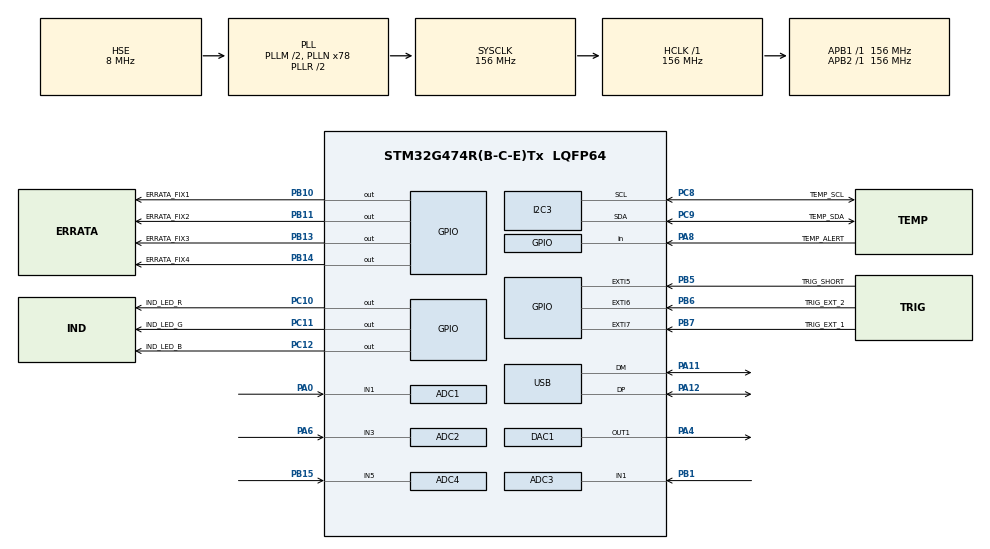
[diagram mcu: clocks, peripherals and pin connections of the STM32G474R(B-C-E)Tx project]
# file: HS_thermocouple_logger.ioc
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ADC1.Channel-9\#ChannelRegularConversion=ADC_CHANNEL_1
ADC1.ClockPrescaler=ADC_CLOCK_ASYNC_DIV1
ADC1.DMAContinuousRequests=ENABLE
ADC1.ExternalTrigConv=ADC_EXTERNALTRIG_T2_TRGO
ADC1.NbrOfConversionFlag=1
ADC1.OffsetNumber-9\#ChannelRegularConversion=ADC_OFFSET_NONE
ADC1.OversamplingMode=ENABLE
ADC1.Rank-9\#ChannelRegularConversion=1
ADC1.Ratio=ADC_OVERSAMPLING_RATIO_32
ADC1.RightBitShift=ADC_RIGHTBITSHIFT_1
ADC1.SamplingTime-9\#ChannelRegularConversion=ADC_SAMPLETIME_2CYCLES_5
ADC1.master=1
ADC2.Channel-0\#ChannelRegularConversion=ADC_CHANNEL_3
ADC2.ClockPrescaler=ADC_CLOCK_ASYNC_DIV1
ADC2.DMAContinuousRequests=ENABLE
ADC2.ExternalTrigConv=ADC_EXTERNALTRIG_T2_TRGO
ADC2.NbrOfConversionFlag=1
ADC2.OffsetNumber-0\#ChannelRegularConversion=ADC_OFFSET_NONE
ADC2.OversamplingMode=ENABLE
ADC2.Rank-0\#ChannelRegularConversion=1
ADC2.Ratio=ADC_OVERSAMPLING_RATIO_32
ADC2.RightBitShift=ADC_RIGHTBITSHIFT_1
ADC2.SamplingTime-0\#ChannelRegularConversion=ADC_SAMPLETIME_2CYCLES_5
ADC3.Channel-0\#ChannelRegularConversion=ADC_CHANNEL_1
ADC3.ClockPrescaler=ADC_CLOCK_ASYNC_DIV1
ADC3.DMAContinuousRequests=ENABLE
ADC3.ExternalTrigConv=ADC_EXTERNALTRIG_T2_TRGO
ADC3.NbrOfConversionFlag=1
ADC3.OffsetNumber-0\#ChannelRegularConversion=ADC_OFFSET_NONE
ADC3.OversamplingMode=ENABLE
ADC3.Rank-0\#ChannelRegularConversion=1
ADC3.Ratio=ADC_OVERSAMPLING_RATIO_32
ADC3.RightBitShift=ADC_RIGHTBITSHIFT_1
ADC3.SamplingTime-0\#ChannelRegularConversion=ADC_SAMPLETIME_2CYCLES_5
ADC3.master=1
ADC4.Channel-2\#ChannelRegularConversion=ADC_CHANNEL_5
ADC4.ClockPrescaler=ADC_CLOCK_ASYNC_DIV1
ADC4.DMAContinuousRequests=ENABLE
ADC4.ExternalTrigConv=ADC_EXTERNALTRIG_T2_TRGO
ADC4.NbrOfConversionFlag=1
ADC4.OffsetNumber-2\#ChannelRegularConversion=ADC_OFFSET_NONE
ADC4.OversamplingMode=ENABLE
ADC4.Rank-2\#ChannelRegularConversion=1
ADC4.Ratio=ADC_OVERSAMPLING_RATIO_32
ADC4.RightBitShift=ADC_RIGHTBITSHIFT_1
ADC4.SamplingTime-2\#ChannelRegularConversion=ADC_SAMPLETIME_2CYCLES_5
DAC1.DAC_UserTrimming-DAC_OUT1=DAC_TRIMMING_USER
Dma.ADC1.0.Direction=DMA_PERIPH_TO_MEMORY
Dma.ADC1.0.EventEnable=DISABLE
Dma.ADC1.0.Instance=DMA1_Channel1
Dma.ADC1.0.MemDataAlignment=DMA_MDATAALIGN_HALFWORD
Dma.ADC1.0.MemInc=DMA_MINC_ENABLE
Dma.ADC1.0.Mode=DMA_CIRCULAR
Dma.ADC1.0.PeriphDataAlignment=DMA_PDATAALIGN_HALFWORD
Dma.ADC1.0.PeriphInc=DMA_PINC_DISABLE
Dma.ADC1.0.Polarity=HAL_DMAMUX_REQ_GEN_RISING
Dma.ADC1.0.Priority=DMA_PRIORITY_HIGH
Dma.ADC1.0.RequestNumber=1
Dma.ADC1.0.SignalID=NONE
Dma.ADC1.0.SyncEnable=DISABLE
Dma.ADC1.0.SyncPolarity=HAL_DMAMUX_SYNC_NO_EVENT
Dma.ADC1.0.SyncRequestNumber=1
Dma.ADC1.0.SyncSignalID=NONE
Dma.ADC2.3.Direction=DMA_PERIPH_TO_MEMORY
Dma.ADC2.3.EventEnable=DISABLE
Dma.ADC2.3.Instance=DMA1_Channel2
Dma.ADC2.3.MemDataAlignment=DMA_MDATAALIGN_HALFWORD
Dma.ADC2.3.MemInc=DMA_MINC_ENABLE
Dma.ADC2.3.Mode=DMA_CIRCULAR
Dma.ADC2.3.PeriphDataAlignment=DMA_PDATAALIGN_HALFWORD
Dma.ADC2.3.PeriphInc=DMA_PINC_DISABLE
Dma.ADC2.3.Polarity=HAL_DMAMUX_REQ_GEN_RISING
Dma.ADC2.3.Priority=DMA_PRIORITY_LOW
Dma.ADC2.3.RequestNumber=1
Dma.ADC2.3.SignalID=NONE
Dma.ADC2.3.SyncEnable=DISABLE
Dma.ADC2.3.SyncPolarity=HAL_DMAMUX_SYNC_NO_EVENT
Dma.ADC2.3.SyncRequestNumber=1
Dma.ADC2.3.SyncSignalID=NONE
Dma.ADC3.1.Direction=DMA_PERIPH_TO_MEMORY
Dma.ADC3.1.EventEnable=DISABLE
Dma.ADC3.1.Instance=DMA1_Channel3
Dma.ADC3.1.MemDataAlignment=DMA_MDATAALIGN_HALFWORD
Dma.ADC3.1.MemInc=DMA_MINC_ENABLE
Dma.ADC3.1.Mode=DMA_CIRCULAR
Dma.ADC3.1.PeriphDataAlignment=DMA_PDATAALIGN_HALFWORD
Dma.ADC3.1.PeriphInc=DMA_PINC_DISABLE
Dma.ADC3.1.Polarity=HAL_DMAMUX_REQ_GEN_RISING
Dma.ADC3.1.Priority=DMA_PRIORITY_HIGH
Dma.ADC3.1.RequestNumber=1
Dma.ADC3.1.SignalID=NONE
Dma.ADC3.1.SyncEnable=DISABLE
Dma.ADC3.1.SyncPolarity=HAL_DMAMUX_SYNC_NO_EVENT
Dma.ADC3.1.SyncRequestNumber=1
Dma.ADC3.1.SyncSignalID=NONE
Dma.ADC4.2.Direction=DMA_PERIPH_TO_MEMORY
Dma.ADC4.2.EventEnable=DISABLE
Dma.ADC4.2.Instance=DMA1_Channel4
Dma.ADC4.2.MemDataAlignment=DMA_MDATAALIGN_HALFWORD
Dma.ADC4.2.MemInc=DMA_MINC_ENABLE
Dma.ADC4.2.Mode=DMA_CIRCULAR
Dma.ADC4.2.PeriphDataAlignment=DMA_PDATAALIGN_HALFWORD
Dma.ADC4.2.PeriphInc=DMA_PINC_DISABLE
Dma.ADC4.2.Polarity=HAL_DMAMUX_REQ_GEN_RISING
Dma.ADC4.2.Priority=DMA_PRIORITY_HIGH
Dma.ADC4.2.RequestNumber=1
Dma.ADC4.2.SignalID=NONE
Dma.ADC4.2.SyncEnable=DISABLE
Dma.ADC4.2.SyncPolarity=HAL_DMAMUX_SYNC_NO_EVENT
Dma.ADC4.2.SyncRequestNumber=1
Dma.ADC4.2.SyncSignalID=NONE
Dma.Request0=ADC1
Dma.Request1=ADC3
Dma.Request2=ADC4
Dma.Request3=ADC2
I2C3.OwnAddress=72
I2C3.Timing=0x40707EB4
Mcu.Family=STM32G4
Mcu.Name=STM32G474R(B-C-E)Tx
Mcu.Package=LQFP64
NVIC.DMA1_Channel1_IRQn=true\:0\:0\:false\:false\:true\:false\:true\:true
NVIC.DMA1_Channel2_IRQn=true\:0\:0\:false\:false\:true\:false\:true\:true
NVIC.DMA1_Channel3_IRQn=true\:0\:0\:false\:false\:true\:false\:true\:true
NVIC.DMA1_Channel4_IRQn=true\:0\:0\:false\:false\:true\:false\:true\:true
NVIC.EXTI9_5_IRQn=true\:0\:0\:false\:false\:true\:true\:true\:true
NVIC.PriorityGroup=NVIC_PRIORITYGROUP_4
NVIC.USB_HP_IRQn=true\:0\:0\:false\:false\:true\:true\:true\:true
NVIC.USB_LP_IRQn=true\:0\:0\:false\:false\:true\:false\:true\:true
PA0.Mode=IN1-Single-Ended
PA0.Signal=ADC1_IN1
PA11.Mode=Device
PA11.Signal=USB_DM
PA12.Mode=Device
PA12.Signal=USB_DP
PA13.GPIO_Label=T_SWDIO
PA13.Mode=JTAG_4_pins
PA13.Signal=SYS_JTMS-SWDIO
PA14.GPIO_Label=T_SWCLK
PA14.Mode=JTAG_4_pins
PA14.Signal=SYS_JTCK-SWCLK
PA15.Mode=JTAG_4_pins
PA15.Signal=SYS_JTDI
PA4.Signal=COMP_DAC11_group
PA6.Mode=IN3-Single-Ended
PA6.Signal=ADC2_IN3
PA8.GPIO_Label=TEMP_ALERT
PA8.Signal=GPIO_Input
PB1.Mode=IN1-Single-Ended
PB1.Signal=ADC3_IN1
PB10.GPIO_Label=ERRATA_FIX1
PB10.GPIO_ModeDefaultOutputPP=GPIO_MODE_OUTPUT_PP
PB10.GPIO_PuPd=GPIO_NOPULL
PB10.GPIO_Speed=GPIO_SPEED_FREQ_LOW
PB10.PinState=GPIO_PIN_RESET
PB10.Signal=GPIO_Output
PB11.GPIO_Label=ERRATA_FIX2
PB11.GPIO_ModeDefaultOutputPP=GPIO_MODE_OUTPUT_PP
PB11.GPIO_PuPd=GPIO_NOPULL
PB11.GPIO_Speed=GPIO_SPEED_FREQ_LOW
PB11.PinState=GPIO_PIN_RESET
PB11.Signal=GPIO_Output
PB13.GPIO_Label=ERRATA_FIX3
PB13.GPIO_ModeDefaultOutputPP=GPIO_MODE_OUTPUT_PP
PB13.GPIO_PuPd=GPIO_NOPULL
PB13.GPIO_Speed=GPIO_SPEED_FREQ_LOW
PB13.PinState=GPIO_PIN_RESET
PB13.Signal=GPIO_Output
PB14.GPIO_Label=ERRATA_FIX4
PB14.GPIO_ModeDefaultOutputPP=GPIO_MODE_OUTPUT_PP
PB14.GPIO_PuPd=GPIO_NOPULL
PB14.GPIO_Speed=GPIO_SPEED_FREQ_LOW
PB14.PinState=GPIO_PIN_RESET
PB14.Signal=GPIO_Output
PB15.Mode=IN5-Single-Ended
PB15.Signal=ADC4_IN5
PB3.GPIO_Label=T_SWO
PB3.Mode=JTAG_4_pins
PB3.Signal=SYS_JTDO-SWO
PB5.GPIO_Label=TRIG_SHORT
PB5.GPIO_ModeDefaultEXTI=GPIO_MODE_IT_FALLING
PB5.GPIO_PuPd=GPIO_NOPULL
PB5.Signal=GPXTI5
PB6.GPIO_Label=TRIG_EXT_2
PB6.GPIO_ModeDefaultEXTI=GPIO_MODE_IT_FALLING
PB6.GPIO_PuPd=GPIO_PULLUP
PB6.Signal=GPXTI6
PB7.GPIO_Label=TRIG_EXT_1
PB7.GPIO_ModeDefaultEXTI=GPIO_MODE_IT_RISING
PB7.GPIO_PuPd=GPIO_PULLDOWN
PB7.Signal=GPXTI7
PC10.GPIO_Label=IND_LED_R
PC10.PinState=GPIO_PIN_SET
PC10.Signal=GPIO_Output
PC11.GPIO_Label=IND_LED_G
PC11.PinState=GPIO_PIN_SET
PC11.Signal=GPIO_Output
PC12.GPIO_Label=IND_LED_B
PC12.PinState=GPIO_PIN_SET
PC12.Signal=GPIO_Output
PC8.GPIO_Label=TEMP_SCL
PC8.Mode=I2C
PC8.Signal=I2C3_SCL
PC9.GPIO_Label=TEMP_SDA
PC9.Mode=I2C
PC9.Signal=I2C3_SDA
PF0-OSC_IN.Mode=HSE-External-Oscillator
PF0-OSC_IN.Signal=RCC_OSC_IN
PF1-OSC_OUT.Mode=HSE-External-Oscillator
PF1-OSC_OUT.Signal=RCC_OSC_OUT
ProjectManager.HeapSize=0x1000
ProjectManager.StackSize=0x1000
ProjectManager.TargetToolchain=STM32CubeIDE
RCC.ADC12CLockSelection=RCC_ADC12CLKSOURCE_PLL
RCC.ADC12Freq_Value=52000000
RCC.ADC345CLockSelection=RCC_ADC345CLKSOURCE_PLL
RCC.ADC345Freq_Value=52000000
RCC.AHBFreq_Value=156000000
RCC.APB1Freq_Value=156000000
RCC.APB1TimFreq_Value=156000000
RCC.APB2Freq_Value=156000000
RCC.APB2TimFreq_Value=156000000
RCC.CK48CLockSelection=RCC_USBCLKSOURCE_HSI48
RCC.CortexFreq_Value=156000000
RCC.EXTERNAL_CLOCK_VALUE=12288000
RCC.HCLKFreq_Value=156000000
RCC.HSE_VALUE=8000000
RCC.HSI48_VALUE=48000000
RCC.HSI_VALUE=16000000
RCC.LSE_VALUE=32768
RCC.PLLM=RCC_PLLM_DIV2
RCC.PLLN=78
RCC.PLLP=RCC_PLLP_DIV6
RCC.PLLSourceVirtual=RCC_PLLSOURCE_HSE
RCC.RTCClockSelection=RCC_RTCCLKSOURCE_LSE
RCC.SYSCLKFreq_VALUE=156000000
RCC.SYSCLKSource=RCC_SYSCLKSOURCE_PLLCLK
RCC.USBFreq_Value=48000000
RCC.VCOOutputFreq_Value=312000000
SH.COMP_DAC11_group.0=DAC1_OUT1,DAC_OUT1
SYS.VoltageScaling=SYSCFG_VREFBUF_VOLTAGE_SCALE2
TIM2.AutoReloadPreload=TIM_AUTORELOAD_PRELOAD_DISABLE
TIM2.PeriodNoDither=10 - 1
TIM2.Prescaler=156 - 1
TIM2.TIM_MasterOutputTrigger=TIM_TRGO_UPDATE
USB_DEVICE.CLASS_NAME_FS=CDC
USB_DEVICE.MANUFACTURER_STRING=BTL
USB_DEVICE.PRODUCT_STRING_CDC_FS=BTL TC logger
USB_DEVICE.VirtualMode=Cdc
USB_DEVICE.VirtualModeFS=Cdc_FS
VP_ADC1_Vref_Input.Mode=IN-Vrefint
VP_SYS_VS_DBSignals.Mode=DisableDeadBatterySignals
VP_TIM2_VS_ClockSourceINT.Mode=Internal
VP_USB_DEVICE_VS_USB_DEVICE_CDC_FS.Mode=CDC_FS
VREF+.Mode=InternalMode
VREF+.Signal=VREFBUF_OUT
board=NUCLEO-G474RE

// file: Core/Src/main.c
/* USER CODE BEGIN Header */
/**
  ******************************************************************************
  * @file           : main.c
  * @brief          : Main program body
  ******************************************************************************
  * @attention
  *
  * Copyright (c) 2024 STMicroelectronics.
  * All rights reserved.
  *
  * This software is licensed under terms that can be found in the LICENSE file
  * in the root directory of this software component.
  * If no LICENSE file comes with this software, it is provided AS-IS.
  *
  ******************************************************************************
  */
/* USER CODE END Header */
#include "main.h"
#include "usb_device.h"

/* USER CODE BEGIN Includes */
#include "usbd_cdc_if.h"
#include "stm32g4xx_ll_usb.h"
#include <string.h>
#include <stdio.h>
/* USER CODE END Includes */

/* USER CODE BEGIN PM */
extern USBD_HandleTypeDef hUsbDeviceFS;
/* USER CODE END PM */

ADC_HandleTypeDef hadc1;
ADC_HandleTypeDef hadc2;
ADC_HandleTypeDef hadc3;
ADC_HandleTypeDef hadc4;
DMA_HandleTypeDef hdma_adc1;
DMA_HandleTypeDef hdma_adc2;
DMA_HandleTypeDef hdma_adc3;
DMA_HandleTypeDef hdma_adc4;

DAC_HandleTypeDef hdac1;

I2C_HandleTypeDef hi2c3;

TIM_HandleTypeDef htim2;

/* USER CODE BEGIN PV */
int current_packet_count = 0;
int target_packet_count = 0;
int dropped_packet_count = 0;

uint16_t adc_buffers[MAX_CHANNEL_COUNT][ADC_BUFFER_SIZE];
int8_t rx_buffer[USB_RX_BUFFER_SIZE];

volatile enum PROG_STATE prog_state = IDLE;
volatile float cold_junction_temp = 0;			// [°C]
volatile float analog_reference_voltage = 2.9;	// [V]
volatile float applied_voltage_offset = 0;		// [V]

uint16_t record_length_ms = 100;
uint16_t record_interval_us = 10;
char tc_type = 'J';
enum ADC_BUFFER_STATE usb_transmition_state = EMPTY;
enum ADC_BUFFER_STATE adc_states[MAX_CHANNEL_COUNT] = {EMPTY, EMPTY, EMPTY, EMPTY};
unsigned int channel_enabled_count = 0;
unsigned int channel_enabled_status[MAX_CHANNEL_COUNT] = {0, 0, 0, 0};

volatile int transmission_error = 0;
volatile int conv_count_reached = 0;
volatile int measurement_activated = 0;

// -210 to 760°C
const uint8_t type_j_coefficients_count = 9;
const double type_j_coefficients[9] = {0,
									   5.0381187815 * pow(10, 1),
									   3.0475836930 * pow(10, -2),
									  -8.5681065720 * pow(10, -5),
									   1.3228195295 * pow(10, -7),
									  -1.7052958337 * pow(10, -10),
									   2.0948090697 * pow(10, -13),
									  -1.2538395336 * pow(10, -16),
									   1.5631725697 * pow(10, -20)

};

// -270 to 0°C
const uint8_t type_k_coefficients_count = 11;
const double type_k_coefficients[11] = {0,
										3.9450128025 * pow(10, 1),
										2.3622373598 * pow(10, -2),
									   -3.2858906784 * pow(10, -4),
									   -4.9904828777 * pow(10, -6),
									   -6.7509059173 * pow(10, -8),
									   -5.7410327428 * pow(10, -10),
									   -3.1088872894 * pow(10, -12),
									   -1.0451609365 * pow(10, -14),
									   -1.9889266878 * pow(10, -17),
									   -1.6322697486 * pow(10, -20)

};

// -270 to 0°C
const uint8_t type_t_coefficients_count = 15;
const double type_t_coefficients[15] = {0,
		 	 	 	 	 	 	 	 	3.8748106364 * pow(10, 1),
										4.4194434347 * pow(10, -2),
										1.1844323105 * pow(10, -4),
										2.0032973554 * pow(10, -5),
										9.0138019559 * pow(10, -7),
										2.2651156593 * pow(10, -8),
										3.6071154205 * pow(10, -10),
										3.8493939883 * pow(10, -12),
										2.8213521925 * pow(10, -14),
										1.4251594779 * pow(10, -16),
										4.8768662286 * pow(10, -19),
										1.0795539270 * pow(10, -21),
										1.3945027062 * pow(10, -24),
										7.9795153927 * pow(10, -28)
};

// -270 to 0°C
const uint8_t type_e_coefficients_count = 14;
const double type_e_coefficients[14] = {0,
										5.8665508708 * pow(10, 1),
										4.5410977124 * pow(10, -2),
									   -7.7998048686 * pow(10, -4),
									   -2.5800160843 * pow(10, -5),
									   -5.9452583057 * pow(10, -7),
									   -9.3214058667 * pow(10, -9),
									   -1.0287605534 * pow(10, -10),
									   -8.0370123621 * pow(10, -13),
									   -4.3979497391 * pow(10, -15),
									   -1.6414776355 * pow(10, -17),
									   -3.9673619516 * pow(10, -20),
									   -5.5827328721 * pow(10, -23),
									   -3.4657842013 * pow(10, -26)
};

/* USER CODE END PV */

void SystemClock_Config(void);
static void MX_GPIO_Init(void);
static void MX_DMA_Init(void);
static void MX_ADC1_Init(void);
static void MX_ADC3_Init(void);
static void MX_ADC4_Init(void);
static void MX_TIM2_Init(void);
static void MX_I2C3_Init(void);
static void MX_DAC1_Init(void);
static void MX_ADC2_Init(void);
/* USER CODE BEGIN PFP */
int InterpretConfig(void);
int InterpretVariable(char name[CFG_VAR_SIZE], char value[CFG_VAR_SIZE]);
int SetupMeasurement(void);
int SendParameters(void);
float MeasureVref(void);
int StartMeasurement(void);
int SendData(enum ADC_BUFFER_STATE usb_transmition_state);
int SendTrasmissionReport(void);
int ResetStates(void);
/* USER CODE END PFP */

int main(void)
{

  /* MCU Configuration--------------------------------------------------------*/

  /* Reset of all peripherals, Initializes the Flash interface and the Systick. */
  HAL_Init();

  /* Configure the system clock */
  SystemClock_Config();

  /* Initialize all configured peripherals */
  MX_GPIO_Init();
  MX_DMA_Init();
  MX_ADC1_Init();
  MX_ADC3_Init();
  MX_ADC4_Init();
  MX_TIM2_Init();
  MX_USB_Device_Init();
  MX_I2C3_Init();
  MX_DAC1_Init();
  MX_ADC2_Init();
  /* USER CODE BEGIN 2 */
  ResetStates();

  int full_channels = 0;
  /* USER CODE END 2 */

  /* Infinite loop */
  while (1)
  {

    /* USER CODE BEGIN 3 */
	  if(prog_state == CFG_RECEIVED){
		  InterpretConfig();
	  }
	  if(prog_state == CFG_INTERPRETED){
		  SetupMeasurement();
	  }
	  if(prog_state == PARAMETERS_SET){
		  SendParameters();
	  }
	  if(prog_state == ARMED){
		  while(!measurement_activated);
		  StartMeasurement();
	  }
	  if(prog_state == MEASURING){
		 full_channels = 0;
		 for(int i = 0; i < MAX_CHANNEL_COUNT; i++){
			 if(!channel_enabled_status[i])
				 continue;
			 if(adc_states[i] == EMPTY)
				 break;

			 if(usb_transmition_state == EMPTY){
				 usb_transmition_state = adc_states[i];
			 }
			 else if(adc_states[i] != usb_transmition_state){
				 transmission_error = 1;
				 break;
			 }

			 full_channels++;
		 }

		 if(full_channels == channel_enabled_count){
			 SendData(usb_transmition_state);
			 usb_transmition_state = EMPTY;
		 }

		 if(current_packet_count >= target_packet_count) {
			 prog_state = REPORTING;
		 }
	  }
	  if(prog_state == REPORTING){
		  SendTrasmissionReport();
		  prog_state = DONE;
	  }
	  if(prog_state == DONE){

		  ResetStates();
	  }

  }
  /* USER CODE END 3 */
}

void SystemClock_Config(void)
{
  RCC_OscInitTypeDef RCC_OscInitStruct = {0};
  RCC_ClkInitTypeDef RCC_ClkInitStruct = {0};

  /** Configure the main internal regulator output voltage
  */
  HAL_PWREx_ControlVoltageScaling(PWR_REGULATOR_VOLTAGE_SCALE1_BOOST);

  /** Initializes the RCC Oscillators according to the specified parameters
  * in the RCC_OscInitTypeDef structure.
  */
  RCC_OscInitStruct.OscillatorType = RCC_OSCILLATORTYPE_HSI48|RCC_OSCILLATORTYPE_HSE;
  RCC_OscInitStruct.HSEState = RCC_HSE_ON;
  RCC_OscInitStruct.HSI48State = RCC_HSI48_ON;
  RCC_OscInitStruct.PLL.PLLState = RCC_PLL_ON;
  RCC_OscInitStruct.PLL.PLLSource = RCC_PLLSOURCE_HSE;
  RCC_OscInitStruct.PLL.PLLM = RCC_PLLM_DIV2;
  RCC_OscInitStruct.PLL.PLLN = 78;
  RCC_OscInitStruct.PLL.PLLP = RCC_PLLP_DIV6;
  RCC_OscInitStruct.PLL.PLLQ = RCC_PLLQ_DIV2;
  RCC_OscInitStruct.PLL.PLLR = RCC_PLLR_DIV2;
  if (HAL_RCC_OscConfig(&RCC_OscInitStruct) != HAL_OK)
  {
    Error_Handler();
  }

  /** Initializes the CPU, AHB and APB buses clocks
  */
  RCC_ClkInitStruct.ClockType = RCC_CLOCKTYPE_HCLK|RCC_CLOCKTYPE_SYSCLK
                              |RCC_CLOCKTYPE_PCLK1|RCC_CLOCKTYPE_PCLK2;
  RCC_ClkInitStruct.SYSCLKSource = RCC_SYSCLKSOURCE_PLLCLK;
  RCC_ClkInitStruct.AHBCLKDivider = RCC_SYSCLK_DIV1;
  RCC_ClkInitStruct.APB1CLKDivider = RCC_HCLK_DIV1;
  RCC_ClkInitStruct.APB2CLKDivider = RCC_HCLK_DIV1;

  if (HAL_RCC_ClockConfig(&RCC_ClkInitStruct, FLASH_LATENCY_4) != HAL_OK)
  {
    Error_Handler();
  }
}

static void MX_ADC1_Init(void)
{

  ADC_MultiModeTypeDef multimode = {0};
  ADC_ChannelConfTypeDef sConfig = {0};

  /** Common config
  */
  hadc1.Instance = ADC1;
  hadc1.Init.ClockPrescaler = ADC_CLOCK_ASYNC_DIV1;
  hadc1.Init.Resolution = ADC_RESOLUTION_12B;
  hadc1.Init.DataAlign = ADC_DATAALIGN_RIGHT;
  hadc1.Init.GainCompensation = 0;
  hadc1.Init.ScanConvMode = ADC_SCAN_DISABLE;
  hadc1.Init.EOCSelection = ADC_EOC_SINGLE_CONV;
  hadc1.Init.LowPowerAutoWait = DISABLE;
  hadc1.Init.ContinuousConvMode = DISABLE;
  hadc1.Init.NbrOfConversion = 1;
  hadc1.Init.DiscontinuousConvMode = DISABLE;
  hadc1.Init.ExternalTrigConv = ADC_EXTERNALTRIG_T2_TRGO;
  hadc1.Init.ExternalTrigConvEdge = ADC_EXTERNALTRIGCONVEDGE_RISING;
  hadc1.Init.DMAContinuousRequests = ENABLE;
  hadc1.Init.Overrun = ADC_OVR_DATA_PRESERVED;
  hadc1.Init.OversamplingMode = ENABLE;
  hadc1.Init.Oversampling.Ratio = ADC_OVERSAMPLING_RATIO_32;
  hadc1.Init.Oversampling.RightBitShift = ADC_RIGHTBITSHIFT_1;
  hadc1.Init.Oversampling.TriggeredMode = ADC_TRIGGEREDMODE_SINGLE_TRIGGER;
  hadc1.Init.Oversampling.OversamplingStopReset = ADC_REGOVERSAMPLING_CONTINUED_MODE;
  if (HAL_ADC_Init(&hadc1) != HAL_OK)
  {
    Error_Handler();
  }

  /** Configure the ADC multi-mode
  */
  multimode.Mode = ADC_MODE_INDEPENDENT;
  if (HAL_ADCEx_MultiModeConfigChannel(&hadc1, &multimode) != HAL_OK)
  {
    Error_Handler();
  }

  /** Configure Regular Channel
  */
  sConfig.Channel = ADC_CHANNEL_1;
  sConfig.Rank = ADC_REGULAR_RANK_1;
  sConfig.SamplingTime = ADC_SAMPLETIME_2CYCLES_5;
  sConfig.SingleDiff = ADC_SINGLE_ENDED;
  sConfig.OffsetNumber = ADC_OFFSET_NONE;
  sConfig.Offset = 0;
  if (HAL_ADC_ConfigChannel(&hadc1, &sConfig) != HAL_OK)
  {
    Error_Handler();
  }

}

static void MX_ADC2_Init(void)
{

  ADC_ChannelConfTypeDef sConfig = {0};

  /** Common config
  */
  hadc2.Instance = ADC2;
  hadc2.Init.ClockPrescaler = ADC_CLOCK_ASYNC_DIV1;
  hadc2.Init.Resolution = ADC_RESOLUTION_12B;
  hadc2.Init.DataAlign = ADC_DATAALIGN_RIGHT;
  hadc2.Init.GainCompensation = 0;
  hadc2.Init.ScanConvMode = ADC_SCAN_DISABLE;
  hadc2.Init.EOCSelection = ADC_EOC_SINGLE_CONV;
  hadc2.Init.LowPowerAutoWait = DISABLE;
  hadc2.Init.ContinuousConvMode = DISABLE;
  hadc2.Init.NbrOfConversion = 1;
  hadc2.Init.DiscontinuousConvMode = DISABLE;
  hadc2.Init.ExternalTrigConv = ADC_EXTERNALTRIG_T2_TRGO;
  hadc2.Init.ExternalTrigConvEdge = ADC_EXTERNALTRIGCONVEDGE_RISING;
  hadc2.Init.DMAContinuousRequests = ENABLE;
  hadc2.Init.Overrun = ADC_OVR_DATA_PRESERVED;
  hadc2.Init.OversamplingMode = ENABLE;
  hadc2.Init.Oversampling.Ratio = ADC_OVERSAMPLING_RATIO_32;
  hadc2.Init.Oversampling.RightBitShift = ADC_RIGHTBITSHIFT_1;
  hadc2.Init.Oversampling.TriggeredMode = ADC_TRIGGEREDMODE_SINGLE_TRIGGER;
  hadc2.Init.Oversampling.OversamplingStopReset = ADC_REGOVERSAMPLING_CONTINUED_MODE;
  if (HAL_ADC_Init(&hadc2) != HAL_OK)
  {
    Error_Handler();
  }

  /** Configure Regular Channel
  */
  sConfig.Channel = ADC_CHANNEL_3;
  sConfig.Rank = ADC_REGULAR_RANK_1;
  sConfig.SamplingTime = ADC_SAMPLETIME_2CYCLES_5;
  sConfig.SingleDiff = ADC_SINGLE_ENDED;
  sConfig.OffsetNumber = ADC_OFFSET_NONE;
  sConfig.Offset = 0;
  if (HAL_ADC_ConfigChannel(&hadc2, &sConfig) != HAL_OK)
  {
    Error_Handler();
  }

}

static void MX_ADC3_Init(void)
{

  ADC_MultiModeTypeDef multimode = {0};
  ADC_ChannelConfTypeDef sConfig = {0};

  /** Common config
  */
  hadc3.Instance = ADC3;
  hadc3.Init.ClockPrescaler = ADC_CLOCK_ASYNC_DIV1;
  hadc3.Init.Resolution = ADC_RESOLUTION_12B;
  hadc3.Init.DataAlign = ADC_DATAALIGN_RIGHT;
  hadc3.Init.GainCompensation = 0;
  hadc3.Init.ScanConvMode = ADC_SCAN_DISABLE;
  hadc3.Init.EOCSelection = ADC_EOC_SINGLE_CONV;
  hadc3.Init.LowPowerAutoWait = DISABLE;
  hadc3.Init.ContinuousConvMode = DISABLE;
  hadc3.Init.NbrOfConversion = 1;
  hadc3.Init.DiscontinuousConvMode = DISABLE;
  hadc3.Init.ExternalTrigConv = ADC_EXTERNALTRIG_T2_TRGO;
  hadc3.Init.ExternalTrigConvEdge = ADC_EXTERNALTRIGCONVEDGE_RISING;
  hadc3.Init.DMAContinuousRequests = ENABLE;
  hadc3.Init.Overrun = ADC_OVR_DATA_PRESERVED;
  hadc3.Init.OversamplingMode = ENABLE;
  hadc3.Init.Oversampling.Ratio = ADC_OVERSAMPLING_RATIO_32;
  hadc3.Init.Oversampling.RightBitShift = ADC_RIGHTBITSHIFT_1;
  hadc3.Init.Oversampling.TriggeredMode = ADC_TRIGGEREDMODE_SINGLE_TRIGGER;
  hadc3.Init.Oversampling.OversamplingStopReset = ADC_REGOVERSAMPLING_CONTINUED_MODE;
  if (HAL_ADC_Init(&hadc3) != HAL_OK)
  {
    Error_Handler();
  }

  /** Configure the ADC multi-mode
  */
  multimode.Mode = ADC_MODE_INDEPENDENT;
  if (HAL_ADCEx_MultiModeConfigChannel(&hadc3, &multimode) != HAL_OK)
  {
    Error_Handler();
  }

  /** Configure Regular Channel
  */
  sConfig.Channel = ADC_CHANNEL_1;
  sConfig.Rank = ADC_REGULAR_RANK_1;
  sConfig.SamplingTime = ADC_SAMPLETIME_2CYCLES_5;
  sConfig.SingleDiff = ADC_SINGLE_ENDED;
  sConfig.OffsetNumber = ADC_OFFSET_NONE;
  sConfig.Offset = 0;
  if (HAL_ADC_ConfigChannel(&hadc3, &sConfig) != HAL_OK)
  {
    Error_Handler();
  }

}

static void MX_ADC4_Init(void)
{

  ADC_ChannelConfTypeDef sConfig = {0};

  /** Common config
  */
  hadc4.Instance = ADC4;
  hadc4.Init.ClockPrescaler = ADC_CLOCK_ASYNC_DIV1;
  hadc4.Init.Resolution = ADC_RESOLUTION_12B;
  hadc4.Init.DataAlign = ADC_DATAALIGN_RIGHT;
  hadc4.Init.GainCompensation = 0;
  hadc4.Init.ScanConvMode = ADC_SCAN_DISABLE;
  hadc4.Init.EOCSelection = ADC_EOC_SINGLE_CONV;
  hadc4.Init.LowPowerAutoWait = DISABLE;
  hadc4.Init.ContinuousConvMode = DISABLE;
  hadc4.Init.NbrOfConversion = 1;
  hadc4.Init.DiscontinuousConvMode = DISABLE;
  hadc4.Init.ExternalTrigConv = ADC_EXTERNALTRIG_T2_TRGO;
  hadc4.Init.ExternalTrigConvEdge = ADC_EXTERNALTRIGCONVEDGE_RISING;
  hadc4.Init.DMAContinuousRequests = ENABLE;
  hadc4.Init.Overrun = ADC_OVR_DATA_PRESERVED;
  hadc4.Init.OversamplingMode = ENABLE;
  hadc4.Init.Oversampling.Ratio = ADC_OVERSAMPLING_RATIO_32;
  hadc4.Init.Oversampling.RightBitShift = ADC_RIGHTBITSHIFT_1;
  hadc4.Init.Oversampling.TriggeredMode = ADC_TRIGGEREDMODE_SINGLE_TRIGGER;
  hadc4.Init.Oversampling.OversamplingStopReset = ADC_REGOVERSAMPLING_CONTINUED_MODE;
  if (HAL_ADC_Init(&hadc4) != HAL_OK)
  {
    Error_Handler();
  }

  /** Configure Regular Channel
  */
  sConfig.Channel = ADC_CHANNEL_5;
  sConfig.Rank = ADC_REGULAR_RANK_1;
  sConfig.SamplingTime = ADC_SAMPLETIME_2CYCLES_5;
  sConfig.SingleDiff = ADC_SINGLE_ENDED;
  sConfig.OffsetNumber = ADC_OFFSET_NONE;
  sConfig.Offset = 0;
  if (HAL_ADC_ConfigChannel(&hadc4, &sConfig) != HAL_OK)
  {
    Error_Handler();
  }

}

static void MX_DAC1_Init(void)
{

  DAC_ChannelConfTypeDef sConfig = {0};

  /** DAC Initialization
  */
  hdac1.Instance = DAC1;
  if (HAL_DAC_Init(&hdac1) != HAL_OK)
  {
    Error_Handler();
  }

  /** DAC channel OUT1 config
  */
  sConfig.DAC_HighFrequency = DAC_HIGH_FREQUENCY_INTERFACE_MODE_AUTOMATIC;
  sConfig.DAC_DMADoubleDataMode = DISABLE;
  sConfig.DAC_SignedFormat = DISABLE;
  sConfig.DAC_SampleAndHold = DAC_SAMPLEANDHOLD_DISABLE;
  sConfig.DAC_Trigger = DAC_TRIGGER_NONE;
  sConfig.DAC_Trigger2 = DAC_TRIGGER_NONE;
  sConfig.DAC_OutputBuffer = DAC_OUTPUTBUFFER_ENABLE;
  sConfig.DAC_ConnectOnChipPeripheral = DAC_CHIPCONNECT_EXTERNAL;
  sConfig.DAC_UserTrimming = DAC_TRIMMING_USER;
  sConfig.DAC_TrimmingValue = 1;
  if (HAL_DAC_ConfigChannel(&hdac1, &sConfig, DAC_CHANNEL_1) != HAL_OK)
  {
    Error_Handler();
  }

}

static void MX_I2C3_Init(void)
{

  hi2c3.Instance = I2C3;
  hi2c3.Init.Timing = 0x40707EB4;
  hi2c3.Init.OwnAddress1 = 144;
  hi2c3.Init.AddressingMode = I2C_ADDRESSINGMODE_7BIT;
  hi2c3.Init.DualAddressMode = I2C_DUALADDRESS_DISABLE;
  hi2c3.Init.OwnAddress2 = 0;
  hi2c3.Init.OwnAddress2Masks = I2C_OA2_NOMASK;
  hi2c3.Init.GeneralCallMode = I2C_GENERALCALL_DISABLE;
  hi2c3.Init.NoStretchMode = I2C_NOSTRETCH_DISABLE;
  if (HAL_I2C_Init(&hi2c3) != HAL_OK)
  {
    Error_Handler();
  }

  /** Configure Analogue filter
  */
  if (HAL_I2CEx_ConfigAnalogFilter(&hi2c3, I2C_ANALOGFILTER_ENABLE) != HAL_OK)
  {
    Error_Handler();
  }

  /** Configure Digital filter
  */
  if (HAL_I2CEx_ConfigDigitalFilter(&hi2c3, 0) != HAL_OK)
  {
    Error_Handler();
  }

}

static void MX_TIM2_Init(void)
{

  TIM_ClockConfigTypeDef sClockSourceConfig = {0};
  TIM_MasterConfigTypeDef sMasterConfig = {0};

  htim2.Instance = TIM2;
  htim2.Init.Prescaler = 156 - 1;
  htim2.Init.CounterMode = TIM_COUNTERMODE_UP;
  htim2.Init.Period = 9;
  htim2.Init.ClockDivision = TIM_CLOCKDIVISION_DIV1;
  htim2.Init.AutoReloadPreload = TIM_AUTORELOAD_PRELOAD_DISABLE;
  if (HAL_TIM_Base_Init(&htim2) != HAL_OK)
  {
    Error_Handler();
  }
  sClockSourceConfig.ClockSource = TIM_CLOCKSOURCE_INTERNAL;
  if (HAL_TIM_ConfigClockSource(&htim2, &sClockSourceConfig) != HAL_OK)
  {
    Error_Handler();
  }
  sMasterConfig.MasterOutputTrigger = TIM_TRGO_UPDATE;
  sMasterConfig.MasterSlaveMode = TIM_MASTERSLAVEMODE_DISABLE;
  if (HAL_TIMEx_MasterConfigSynchronization(&htim2, &sMasterConfig) != HAL_OK)
  {
    Error_Handler();
  }

}

static void MX_DMA_Init(void)
{

  /* DMA controller clock enable */
  __HAL_RCC_DMAMUX1_CLK_ENABLE();
  __HAL_RCC_DMA1_CLK_ENABLE();

  /* DMA interrupt init */
  /* DMA1_Channel1_IRQn interrupt configuration */
  HAL_NVIC_SetPriority(DMA1_Channel1_IRQn, 0, 0);
  HAL_NVIC_EnableIRQ(DMA1_Channel1_IRQn);
  /* DMA1_Channel2_IRQn interrupt configuration */
  HAL_NVIC_SetPriority(DMA1_Channel2_IRQn, 0, 0);
  HAL_NVIC_EnableIRQ(DMA1_Channel2_IRQn);
  /* DMA1_Channel3_IRQn interrupt configuration */
  HAL_NVIC_SetPriority(DMA1_Channel3_IRQn, 0, 0);
  HAL_NVIC_EnableIRQ(DMA1_Channel3_IRQn);
  /* DMA1_Channel4_IRQn interrupt configuration */
  HAL_NVIC_SetPriority(DMA1_Channel4_IRQn, 0, 0);
  HAL_NVIC_EnableIRQ(DMA1_Channel4_IRQn);

}

static void MX_GPIO_Init(void)
{
  GPIO_InitTypeDef GPIO_InitStruct = {0};

  /* GPIO Ports Clock Enable */
  __HAL_RCC_GPIOF_CLK_ENABLE();
  __HAL_RCC_GPIOA_CLK_ENABLE();
  __HAL_RCC_GPIOB_CLK_ENABLE();
  __HAL_RCC_GPIOC_CLK_ENABLE();

  /*Configure GPIO pin Output Level */
  HAL_GPIO_WritePin(GPIOB, ERRATA_FIX1_Pin|ERRATA_FIX2_Pin|ERRATA_FIX3_Pin|ERRATA_FIX4_Pin, GPIO_PIN_RESET);

  /*Configure GPIO pin Output Level */
  HAL_GPIO_WritePin(GPIOC, IND_LED_R_Pin|IND_LED_G_Pin|IND_LED_B_Pin, GPIO_PIN_SET);

  /*Configure GPIO pins : ERRATA_FIX1_Pin ERRATA_FIX2_Pin ERRATA_FIX3_Pin ERRATA_FIX4_Pin */
  GPIO_InitStruct.Pin = ERRATA_FIX1_Pin|ERRATA_FIX2_Pin|ERRATA_FIX3_Pin|ERRATA_FIX4_Pin;
  GPIO_InitStruct.Mode = GPIO_MODE_OUTPUT_PP;
  GPIO_InitStruct.Pull = GPIO_NOPULL;
  GPIO_InitStruct.Speed = GPIO_SPEED_FREQ_LOW;
  HAL_GPIO_Init(GPIOB, &GPIO_InitStruct);

  /*Configure GPIO pin : TEMP_ALERT_Pin */
  GPIO_InitStruct.Pin = TEMP_ALERT_Pin;
  GPIO_InitStruct.Mode = GPIO_MODE_INPUT;
  GPIO_InitStruct.Pull = GPIO_NOPULL;
  HAL_GPIO_Init(TEMP_ALERT_GPIO_Port, &GPIO_InitStruct);

  /*Configure GPIO pins : IND_LED_R_Pin IND_LED_G_Pin IND_LED_B_Pin */
  GPIO_InitStruct.Pin = IND_LED_R_Pin|IND_LED_G_Pin|IND_LED_B_Pin;
  GPIO_InitStruct.Mode = GPIO_MODE_OUTPUT_PP;
  GPIO_InitStruct.Pull = GPIO_NOPULL;
  GPIO_InitStruct.Speed = GPIO_SPEED_FREQ_LOW;
  HAL_GPIO_Init(GPIOC, &GPIO_InitStruct);

  /*Configure GPIO pin : TRIG_SHORT_Pin */
  GPIO_InitStruct.Pin = TRIG_SHORT_Pin;
  GPIO_InitStruct.Mode = GPIO_MODE_IT_FALLING;
  GPIO_InitStruct.Pull = GPIO_NOPULL;
  HAL_GPIO_Init(TRIG_SHORT_GPIO_Port, &GPIO_InitStruct);

  /*Configure GPIO pin : TRIG_EXT_2_Pin */
  GPIO_InitStruct.Pin = TRIG_EXT_2_Pin;
  GPIO_InitStruct.Mode = GPIO_MODE_IT_FALLING;
  GPIO_InitStruct.Pull = GPIO_PULLUP;
  HAL_GPIO_Init(TRIG_EXT_2_GPIO_Port, &GPIO_InitStruct);

  /*Configure GPIO pin : TRIG_EXT_1_Pin */
  GPIO_InitStruct.Pin = TRIG_EXT_1_Pin;
  GPIO_InitStruct.Mode = GPIO_MODE_IT_RISING;
  GPIO_InitStruct.Pull = GPIO_PULLDOWN;
  HAL_GPIO_Init(TRIG_EXT_1_GPIO_Port, &GPIO_InitStruct);

  /* EXTI interrupt init*/
  HAL_NVIC_SetPriority(EXTI9_5_IRQn, 0, 0);
  HAL_NVIC_EnableIRQ(EXTI9_5_IRQn);

}

/* USER CODE BEGIN 4 */

int InterpretConfig(void) {
	char variable_name[CFG_VAR_SIZE];
	char variable_value[CFG_VAR_SIZE];
	memset(variable_name, 0, sizeof(variable_name));
	memset(variable_value, 0, sizeof(variable_value));
	int variable_name_indexes[2] = {0, 0};
	int variable_value_indexes[2] = {0, 0};
	char reading_status = 'n';
	for(int i = 0; i < USB_RX_BUFFER_SIZE; i++){
		if(rx_buffer[i] == '\0'){
			break;
		}
		// Reading the variable name
		if(reading_status == 'n'){
			if(rx_buffer[i] == ':') {
				variable_name_indexes[1] = i;
				variable_value_indexes[0] = i+1;
				reading_status = 'v';
			}
		}
		// Reading the variable value
		else if(reading_status == 'v'){
			if(rx_buffer[i] == ';') {
				variable_value_indexes[1] = i;

				strncpy(variable_name, ((char*)rx_buffer + variable_name_indexes[0]), (variable_name_indexes[1] - variable_name_indexes[0]));
				variable_name[variable_name_indexes[1] + 1] = '\0';
				strncpy(variable_value, ((char*)rx_buffer + variable_value_indexes[0]), (variable_value_indexes[1] - variable_value_indexes[0]));
				variable_value[variable_value_indexes[1] + 1] = '\0';

				InterpretVariable(variable_name, variable_value);
				memset(variable_name, 0, sizeof(variable_name));
				memset(variable_value, 0, sizeof(variable_value));
				variable_name_indexes[0] = i + 1;
				reading_status = 'n';
			}
		}
	}

	prog_state = CFG_INTERPRETED;
	return 1;
}

int InterpretVariable(char name[CFG_VAR_SIZE], char value[CFG_VAR_SIZE]) {
	if(strcmp(name, "RecLen") == 0) {
		record_length_ms = (uint16_t)atoi(value);
	}
	else if(strcmp(name, "RecInt") == 0) {
		record_interval_us = (uint16_t)atoi(value);
	}
	else if(strcmp(name, "TcType") == 0) {
		tc_type = value[0];
	}
	else if(strcmp(name, "EnChan") == 0) {
		int channel_index = 0;
		char *channel_status = strtok(value, "|");

		while(channel_status != NULL) {
			channel_enabled_status[channel_index] = channel_status[0] - '0';
			channel_status = strtok(NULL, "|");
			channel_index++;
		}

		for(int i = 0; i < MAX_CHANNEL_COUNT; i++){
			channel_enabled_count += channel_enabled_status[i];
		}
	}

	return 1;
}

int SetupMeasurement(void){
	// > Set the correct analog reference voltage and get the relevant coefficients

	const double *used_coefficients;
	uint8_t coefficients_count;
	if(tc_type == 'E') {
		HAL_SYSCFG_VREFBUF_VoltageScalingConfig(SYSCFG_VREFBUF_VOLTAGE_SCALE2); // 2.9V
		used_coefficients = type_e_coefficients;
		coefficients_count = type_e_coefficients_count;
	}
	else if(tc_type == 'J') {
		HAL_SYSCFG_VREFBUF_VoltageScalingConfig(SYSCFG_VREFBUF_VOLTAGE_SCALE1); // 2.5V
		used_coefficients = type_j_coefficients;
		coefficients_count = type_j_coefficients_count;
	}
	else if(tc_type == 'K') {
		HAL_SYSCFG_VREFBUF_VoltageScalingConfig(SYSCFG_VREFBUF_VOLTAGE_SCALE0); // 2.048V
		used_coefficients = type_k_coefficients;
		coefficients_count = type_k_coefficients_count;
	}
	else if(tc_type == 'T') {
		HAL_SYSCFG_VREFBUF_VoltageScalingConfig(SYSCFG_VREFBUF_VOLTAGE_SCALE0); // 2.048V
		used_coefficients = type_t_coefficients;
		coefficients_count = type_t_coefficients_count;
	}

	// Measure the actual analog reference voltage
	HAL_Delay(100);
	analog_reference_voltage = MeasureVref();
	adc_states[0] = EMPTY;
	dropped_packet_count = 0;

	// > Calculate and set ADC sync timer
	__HAL_TIM_SET_AUTORELOAD(&htim2, record_interval_us - 1);
	__HAL_TIM_SET_COUNTER(&htim2, record_interval_us - 1);

	// > Calculate and set DAC value

	// Initiate a one shot temperature conversion
	uint8_t one_shot_conversion_command = 0b01000100;
	HAL_I2C_Mem_Write(&hi2c3, (TEMP_SENSOR_ADDR << 1), 0x1, I2C_MEMADD_SIZE_8BIT, &one_shot_conversion_command, 1, HAL_MAX_DELAY);
	// Read the temperature
	uint8_t temp_buffer[2];
	HAL_I2C_Mem_Read(&hi2c3, (TEMP_SENSOR_ADDR << 1), 0x0, I2C_MEMADD_SIZE_8BIT, temp_buffer, 2, HAL_MAX_DELAY);

	// Calculate the temperature in C
	uint8_t negative_temperature_flag = temp_buffer[0] >> 7;
	temp_buffer[0] &= 0b01111111;
	uint16_t sensor_output = (temp_buffer[0] << 2) | (temp_buffer[1] >> 6);

	if(negative_temperature_flag) {
		cold_junction_temp = (sensor_output - 512)/4.0;
	}
	else{
		cold_junction_temp = (sensor_output)/4.0;
	}

	// Calculate the required DAC offset
	float cjc_offset_temperature = MINIMUM_TEMPERATURE - cold_junction_temp;
	double cjc_offset_voltage = 0;
	for(int i = 0; i < coefficients_count; i++) {
		cjc_offset_voltage += used_coefficients[i] * pow(cjc_offset_temperature, i);
	}

	double total_offset_calc = INAMP_OUTPUT_BUFFER_OFFSET + ((-1) * (cjc_offset_voltage * pow(10, -6)) * INAMP_GAIN);
	uint32_t offset = (uint32_t)(total_offset_calc * 4096) / analog_reference_voltage;
	applied_voltage_offset = (float)(offset * analog_reference_voltage) / 4096;

	// Calibrate the DAC
	DAC_ChannelConfTypeDef sConfig = {0};
	sConfig.DAC_HighFrequency = DAC_HIGH_FREQUENCY_INTERFACE_MODE_AUTOMATIC;
	sConfig.DAC_DMADoubleDataMode = DISABLE;
	sConfig.DAC_SignedFormat = DISABLE;
	sConfig.DAC_SampleAndHold = DAC_SAMPLEANDHOLD_DISABLE;
	sConfig.DAC_Trigger = DAC_TRIGGER_NONE;
	sConfig.DAC_Trigger2 = DAC_TRIGGER_NONE;
	sConfig.DAC_OutputBuffer = DAC_OUTPUTBUFFER_ENABLE;
	sConfig.DAC_ConnectOnChipPeripheral = DAC_CHIPCONNECT_EXTERNAL;
	sConfig.DAC_UserTrimming = DAC_TRIMMING_USER;
	if (HAL_DAC_ConfigChannel(&hdac1, &sConfig, DAC_CHANNEL_1) != HAL_OK)
	{
	Error_Handler();
	}
	HAL_DACEx_SelfCalibrate(&hdac1, &sConfig, DAC_CHANNEL_1);

	// Set the DAC voltage
	HAL_DAC_SetValue(&hdac1, DAC_CHANNEL_1, DAC_ALIGN_12B_R, offset);
	HAL_DAC_Start(&hdac1, DAC_CHANNEL_1);

	// Calculate the target packet number
	target_packet_count = (record_length_ms * 1000.0 / record_interval_us) / (ADC_BUFFER_SIZE / 2);
	if((int)(record_length_ms * 1000.0 / record_interval_us) % (ADC_BUFFER_SIZE / 2) != 0){
		target_packet_count += 1;
	}

	prog_state = PARAMETERS_SET;
	return 1;
}

float MeasureVref(void) {
	HAL_ADC_DeInit(&hadc1);

	// Measure Vref
	hadc1.Instance = ADC1;
	hadc1.Init.ClockPrescaler = ADC_CLOCK_ASYNC_DIV1;
	hadc1.Init.Resolution = ADC_RESOLUTION_12B;
	hadc1.Init.DataAlign = ADC_DATAALIGN_RIGHT;
	hadc1.Init.GainCompensation = 0;
	hadc1.Init.ScanConvMode = ADC_SCAN_DISABLE;
	hadc1.Init.EOCSelection = ADC_EOC_SINGLE_CONV;
	hadc1.Init.LowPowerAutoWait = DISABLE;
	hadc1.Init.ContinuousConvMode = DISABLE;
	hadc1.Init.NbrOfConversion = 1;
	hadc1.Init.DiscontinuousConvMode = DISABLE;
	hadc1.Init.ExternalTrigConv = ADC_SOFTWARE_START;
	hadc1.Init.ExternalTrigConvEdge = ADC_EXTERNALTRIGCONVEDGE_NONE;
	hadc1.Init.DMAContinuousRequests = ENABLE;
	hadc1.Init.Overrun = ADC_OVR_DATA_PRESERVED;
	hadc1.Init.OversamplingMode = DISABLE;
	if (HAL_ADC_Init(&hadc1) != HAL_OK) {
		Error_Handler();
	}

	ADC_MultiModeTypeDef multimode = {0};

	multimode.Mode = ADC_MODE_INDEPENDENT;
	if (HAL_ADCEx_MultiModeConfigChannel(&hadc1, &multimode) != HAL_OK) {
		Error_Handler();
	}

	ADC_ChannelConfTypeDef sConfig = {0};

	sConfig.Channel = ADC_CHANNEL_VREFINT;
	sConfig.Rank = ADC_REGULAR_RANK_1;
	sConfig.SamplingTime = ADC_SAMPLETIME_640CYCLES_5;
	sConfig.SingleDiff = ADC_SINGLE_ENDED;
	sConfig.OffsetNumber = ADC_OFFSET_NONE;
	sConfig.Offset = 0;
	if (HAL_ADC_ConfigChannel(&hadc1, &sConfig) != HAL_OK) {
		Error_Handler();
	}

	uint16_t vrefint_data = 0;
	HAL_ADCEx_Calibration_Start(&hadc1, ADC_SINGLE_ENDED);
	HAL_ADC_Start_DMA(&hadc1, (uint32_t*)&vrefint_data, 1);
	HAL_Delay(1);
	HAL_ADC_Stop_DMA(&hadc1);

	uint16_t vrefint_cal;
	vrefint_cal= *((uint16_t*)VREFINT_CAL_ADDR);

	float vref = (VREFINT_CAL_VREF / 1000.0) * (float)vrefint_cal / (float)vrefint_data;

	// Return ADC to initial state
	HAL_ADC_DeInit(&hadc1);
	MX_ADC1_Init();

	return vref;
}

int SendParameters(void) {
	unsigned char parameters_msg[PARAMETERS_MSG_SIZE];

	sprintf((char *)parameters_msg, "CjcTmp:%.2f;AlgRfr:%.3f;AplOfs:%.4f;AdcBuf:%d;PktCnt:%d\n",
									cold_junction_temp,
									analog_reference_voltage,
									applied_voltage_offset,
									ADC_BUFFER_SIZE,
									target_packet_count);
	uint16_t line_len = strlen((char *)parameters_msg);
	while(CDC_Transmit_FS(parameters_msg, line_len) != USBD_OK);

	HAL_GPIO_WritePin(IND_LED_G_GPIO_Port, IND_LED_G_Pin, GPIO_PIN_SET);
	HAL_GPIO_WritePin(IND_LED_R_GPIO_Port, IND_LED_R_Pin, GPIO_PIN_SET);
	HAL_GPIO_WritePin(IND_LED_B_GPIO_Port, IND_LED_B_Pin, GPIO_PIN_RESET);
	measurement_activated = 0;
	prog_state = ARMED;

	return 1;
}

int StartMeasurement(void) {
	HAL_GPIO_WritePin(IND_LED_G_GPIO_Port, IND_LED_G_Pin, GPIO_PIN_SET);
	HAL_GPIO_WritePin(IND_LED_R_GPIO_Port, IND_LED_R_Pin, GPIO_PIN_RESET);
	HAL_GPIO_WritePin(IND_LED_B_GPIO_Port, IND_LED_B_Pin, GPIO_PIN_SET);

	// Setup ADCs
	if(channel_enabled_status[0]){
		HAL_ADCEx_Calibration_Start(&hadc1, ADC_SINGLE_ENDED);
		HAL_ADC_Start_DMA(&hadc1, (uint32_t*)adc_buffers[0], ADC_BUFFER_SIZE);
	}
	if(channel_enabled_status[1]){
		HAL_ADCEx_Calibration_Start(&hadc2, ADC_SINGLE_ENDED);
		HAL_ADC_Start_DMA(&hadc2, (uint32_t*)adc_buffers[1], ADC_BUFFER_SIZE);
	}
	if(channel_enabled_status[2]){
		HAL_ADCEx_Calibration_Start(&hadc3, ADC_SINGLE_ENDED);
		HAL_ADC_Start_DMA(&hadc3, (uint32_t*)adc_buffers[2], ADC_BUFFER_SIZE);
	}
	if(channel_enabled_status[3]){
		HAL_ADCEx_Calibration_Start(&hadc4, ADC_SINGLE_ENDED);
		HAL_ADC_Start_DMA(&hadc4, (uint32_t*)adc_buffers[3], ADC_BUFFER_SIZE);
	}

	HAL_TIM_Base_Start_IT(&htim2);

	prog_state = MEASURING;

	return 1;
}

// Called when first half of buffer is filled
void HAL_ADC_ConvHalfCpltCallback(ADC_HandleTypeDef* hadc) {
	int adc_index;

	if (hadc == &hadc1){
		adc_index = 0;
	}
	else if(hadc == &hadc2){
		adc_index = 1;
	}
	else if(hadc == &hadc3){
		adc_index = 2;
	}
	else if(hadc == &hadc4){
		adc_index = 3;
	}

	if (adc_states[adc_index] != EMPTY)
		dropped_packet_count++;
	adc_states[adc_index] = START_FULL;
}

// Called when buffer is completely filled
void HAL_ADC_ConvCpltCallback(ADC_HandleTypeDef* hadc) {
	int adc_index;

	if (hadc == &hadc1){
		adc_index = 0;
	}
	else if(hadc == &hadc2){
		adc_index = 1;
	}
	else if(hadc == &hadc3){
		adc_index = 2;
	}
	else if(hadc == &hadc4){
		adc_index = 3;
	}

	if (adc_states[adc_index] != EMPTY)
		dropped_packet_count++;
	adc_states[adc_index] = END_FULL;
}

unsigned char usb_buffer[USB_BUFFER_SIZE];
unsigned int usb_buffer_index;
unsigned int adc_buffer_start_index;

int SendData(enum ADC_BUFFER_STATE usb_transmition_state) {
	// > Create the USB buffer data
	if(usb_transmition_state == START_FULL){
		adc_buffer_start_index = 0;
	}
	else if(usb_transmition_state == END_FULL){
		adc_buffer_start_index = ADC_BUFFER_SIZE/2;
	}

	usb_buffer_index = 0;
	for(int channel_index = 0; channel_index < MAX_CHANNEL_COUNT; channel_index++) {
		if(!channel_enabled_status[channel_index])
			continue;

		for(int i = 0; i < ADC_BUFFER_SIZE/2; i++){
			usb_buffer[usb_buffer_index + (i*2) + 1] = (uint8_t)(adc_buffers[channel_index][adc_buffer_start_index + i] & 0x00FF);
			usb_buffer[usb_buffer_index + i*2] = (uint8_t)((adc_buffers[channel_index][adc_buffer_start_index + i] >> 8) & 0x00FF);
		}
		adc_states[channel_index] = EMPTY;
		usb_buffer_index += ADC_BUFFER_SIZE;
	}

	while(CDC_Transmit_FS(usb_buffer, usb_buffer_index) != USBD_OK);

	current_packet_count++;

	return 1;
}

int SendTrasmissionReport(void) {
	unsigned char report_msg[REPORT_MSG_SIZE];

	sprintf((char *)report_msg, "TrsErr:%d;DrpPkt:%d\n",
									transmission_error,
									dropped_packet_count);
	uint16_t line_len = strlen((char *)report_msg);
	while(CDC_Transmit_FS(report_msg, line_len) != USBD_OK);

	prog_state = DONE;

	return 1;
}

int ResetStates(void) {
	  HAL_TIM_Base_Stop_IT(&htim2);
	  HAL_ADC_Stop_DMA(&hadc1);
	  HAL_ADC_Stop_DMA(&hadc2);
	  HAL_ADC_Stop_DMA(&hadc3);
	  HAL_ADC_Stop_DMA(&hadc4);
	  memset(adc_buffers, 0, sizeof(adc_buffers));
	  prog_state = IDLE;
	  conv_count_reached = 0;
	  target_packet_count = 0;
	  current_packet_count = 0;
	  measurement_activated = 0;
	  channel_enabled_count = 0;
	  dropped_packet_count = 0;
	  transmission_error = 0;

	  HAL_GPIO_WritePin(IND_LED_G_GPIO_Port, IND_LED_G_Pin, GPIO_PIN_RESET);
	  HAL_GPIO_WritePin(IND_LED_R_GPIO_Port, IND_LED_R_Pin, GPIO_PIN_SET);
	  HAL_GPIO_WritePin(IND_LED_B_GPIO_Port, IND_LED_B_Pin, GPIO_PIN_SET);

	  return 1;
}

/* USER CODE END 4 */

void Error_Handler(void)
{
  __disable_irq();
  while (1)
  {
  }
}
